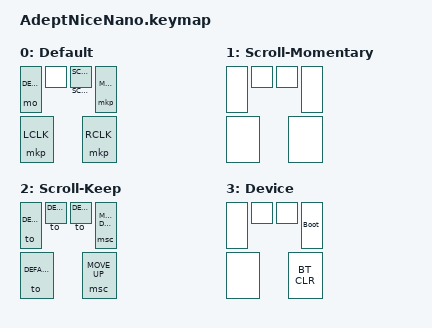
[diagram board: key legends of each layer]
#define ZMK_POINTING_DEFAULT_MOVE_VAL 10  // default: 600
#define ZMK_POINTING_DEFAULT_SCRL_VAL 5    // default: 10

#include <behaviors.dtsi>
#include <dt-bindings/zmk/bt.h>
#include <dt-bindings/zmk/keys.h>
#include <dt-bindings/zmk/pointing.h>
#include <dt-bindings/zmk/outputs.h>

// #include <dt-bindings/zmk/mouse.h>

#define DEFAULT 0
#define SCRLM 1
#define SCRLH 2
#define DEVICE 3
//#define BLTH 4
//#define SNIPE 5

/ {
  combos {
    compatible = "zmk,combos";
    combo_esc {
      timeout-ms = <50>;
      key-positions = <2 3>;
      bindings = <&mkp RCLK>;
    };
  };
  behaviors {
    ltm: layer-tap-momentary {
      compatible = "zmk,behavior-hold-tap";
      #binding-cells = <2>;
      flavor = "tap-preferred";
      tapping-term-ms = <200>;
      bindings = <&mo>, <&mkp>;
    };
    lth: layer-tap-hold-while-undecided {
      compatible = "zmk,behavior-hold-tap";
      #binding-cells = <2>;
      flavor = "hold-preferred";
      hold-while-undecided;
      tapping-term-ms = <150>;
      bindings = <&mo>, <&mkp>;
    };
    mto: momentary-or-toggle {
      compatible = "zmk,behavior-hold-tap";
      #binding-cells = <2>;
      flavor = "hold-preferred";
      hold-while-undecided;
      tapping-term-ms = <200>;
      bindings = <&mo>, <&to>;
    };
  };
  keymap {
    compatible = "zmk,keymap";
    default_layer {
      display-name = "Default";
      bindings = <
        &mo DEVICE &none &mto SCRLM SCRLH &mkp MCLK
        &mkp LCLK                         &mkp RCLK
      >;
    };
    scroll_tap_layer {
      display-name = "Scroll-Momentary";
      bindings = <
        &none &none &none &none
        &none             &none
      >;
    };
    scroll_hold_layer {
      display-name = "Scroll-Keep";
      bindings = <
        &to DEFAULT &to DEFAULT &to DEFAULT &msc MOVE_DOWN
        &to DEFAULT                         &msc MOVE_UP
      >;
    };
    device_layer {
      display-name = "Device";
      bindings = <
        &none &none &none &bootloader
        &none             &bt BT_CLR
      >;
    };
  };
};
